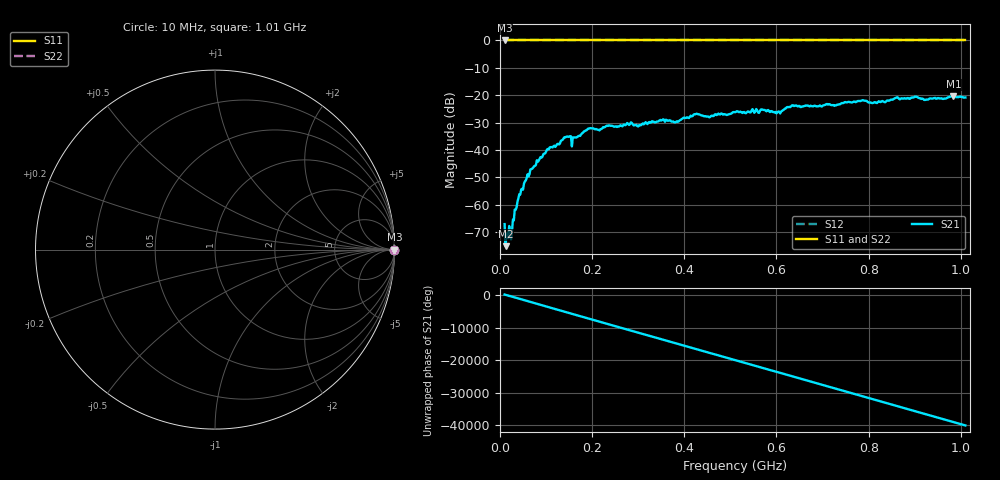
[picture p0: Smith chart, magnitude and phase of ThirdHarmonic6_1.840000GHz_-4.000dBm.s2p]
! 8/16/2025 10:16:21 PM
! C:\ANRITSUVNA\TEMP\TEMP.S2P
! CHANNEL.1
! TR.MEASUREMENT
! RAW.DATA
! RF.CORRECTION.OFF
! AVERAGING.OFF
! IF.BANDWIDTH: 5KHZ
! SWEEPTYPE:  FREQ.SWEEP(Linear)
! Reference Plane Port Info
! PORT:  PORT1  PORT2
! DISTANCE:  0  m  0  m
! TIME:  0  s  0  s
! PHASE.OFFSET:  0  deg.  0  deg.
! LOSS:  0  dB  0  dB
! REF.LOSS:  0  dB  0  dB
! REF.FREQ:  0  Hz  0  Hz
! Power Info
! POWER:  -20  dBm  -20  dBm
! EFF.POWER:  -20  dBm  -20  dBm
! SOURCE.ATTEN:  0  dB  0  dB
! TEST.ATTEN:  0  dB  0  dB
# GHZ S RI R 50.0
! FREQ.GHZ  S11RE  S11IM  S21RE  S21IM  S12RE  S12IM  S22RE  S22IM
!; PortSelection: Port_12
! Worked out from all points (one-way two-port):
!   501 points, 10 MHz to 1.01 GHz, reference 50 ohm
!   highest |S21| = -20.36 dB at 984 MHz (marker M1); lowest = -75.2 dB at 12 MHz (marker M2)
!   lowest |S11| = 0.0 dB at 10 MHz (marker M3)
!   |S11| at or under -10 dB: nowhere
!   |S22| runs from 0.0 to 0.0 dB; largest |S21 - S12| = 1.1
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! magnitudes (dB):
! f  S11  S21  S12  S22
! 10 MHz  0.0  -67.1  0.0  0.0
! 12 MHz  0.0  -75.2  0.0  0.0
! 22 MHz  0.0  -70.8  0.0  0.0
! 44 MHz  0.0  -56.3  0.0  0.0
! 64 MHz  0.0  -48.8  0.0  0.0
! 84 MHz  0.0  -43.9  0.0  0.0
! 106 MHz  0.0  -39.8  0.0  0.0
! 142 MHz  0.0  -35.4  0.0  0.0
! 160 MHz  0.0  -35.5  0.0  0.0
! 178 MHz  0.0  -33.9  0.0  0.0
! 196 MHz  0.0  -32.0  0.0  0.0
! 344 MHz  0.0  -29.6  0.0  0.0
! 382 MHz  0.0  -29.7  0.0  0.0
! 424 MHz  0.0  -27.0  0.0  0.0
! 452 MHz  0.0  -27.8  0.0  0.0
! 510 MHz  0.0  -26.2  0.0  0.0
! 604 MHz  0.0  -26.0  0.0  0.0
! 636 MHz  0.0  -23.7  0.0  0.0
! 678 MHz  0.0  -24.1  0.0  0.0
! 844 MHz  0.0  -22.0  0.0  0.0
! 984 MHz  0.0  -20.4  0.0  0.0
! 1.01 GHz  0.0  -20.8  0.0  0.0
